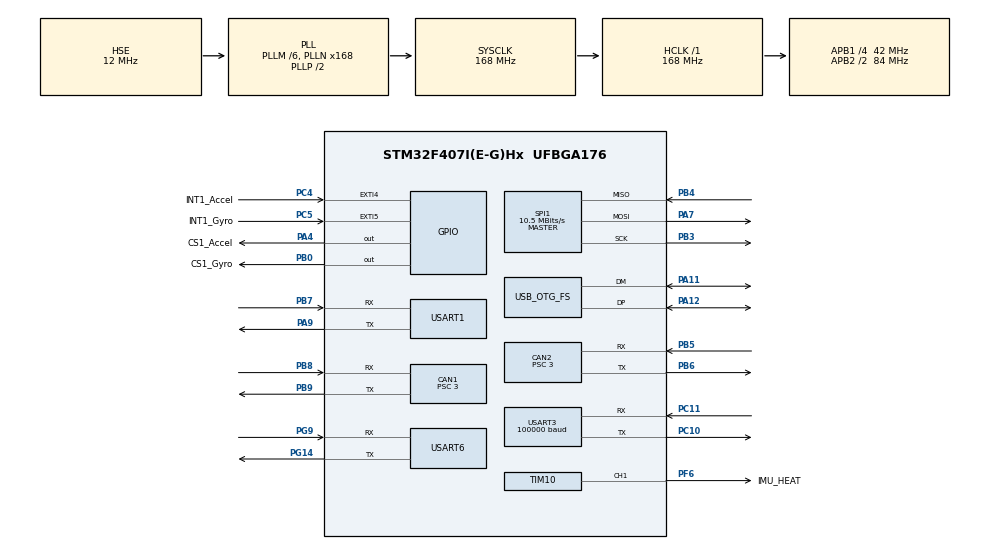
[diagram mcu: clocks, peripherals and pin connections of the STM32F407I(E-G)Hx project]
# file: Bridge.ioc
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CAN1.BS1=CAN_BS1_10TQ
CAN1.BS2=CAN_BS2_3TQ
CAN1.CalculateBaudRate=1000000
CAN1.CalculateTimeBit=1000
CAN1.CalculateTimeQuantum=71.42857142857143
CAN1.Prescaler=3
CAN2.BS1=CAN_BS1_10TQ
CAN2.BS2=CAN_BS2_3TQ
CAN2.CalculateBaudRate=1000000
CAN2.CalculateTimeBit=1000
CAN2.CalculateTimeQuantum=71.42857142857143
CAN2.Prescaler=3
Dma.Request0=USART6_RX
Dma.Request1=USART1_RX
Dma.Request2=USART1_TX
Dma.Request3=USART6_TX
Dma.Request4=USART3_RX
Dma.Request5=SPI1_RX
Dma.Request6=SPI1_TX
Dma.SPI1_RX.5.Direction=DMA_PERIPH_TO_MEMORY
Dma.SPI1_RX.5.FIFOMode=DMA_FIFOMODE_DISABLE
Dma.SPI1_RX.5.Instance=DMA2_Stream2
Dma.SPI1_RX.5.MemDataAlignment=DMA_MDATAALIGN_BYTE
Dma.SPI1_RX.5.MemInc=DMA_MINC_ENABLE
Dma.SPI1_RX.5.Mode=DMA_NORMAL
Dma.SPI1_RX.5.PeriphDataAlignment=DMA_PDATAALIGN_BYTE
Dma.SPI1_RX.5.PeriphInc=DMA_PINC_DISABLE
Dma.SPI1_RX.5.Priority=DMA_PRIORITY_VERY_HIGH
Dma.SPI1_TX.6.Direction=DMA_MEMORY_TO_PERIPH
Dma.SPI1_TX.6.FIFOMode=DMA_FIFOMODE_DISABLE
Dma.SPI1_TX.6.Instance=DMA2_Stream3
Dma.SPI1_TX.6.MemDataAlignment=DMA_MDATAALIGN_BYTE
Dma.SPI1_TX.6.MemInc=DMA_MINC_ENABLE
Dma.SPI1_TX.6.Mode=DMA_NORMAL
Dma.SPI1_TX.6.PeriphDataAlignment=DMA_PDATAALIGN_BYTE
Dma.SPI1_TX.6.PeriphInc=DMA_PINC_DISABLE
Dma.SPI1_TX.6.Priority=DMA_PRIORITY_HIGH
Dma.USART1_RX.1.Direction=DMA_PERIPH_TO_MEMORY
Dma.USART1_RX.1.FIFOMode=DMA_FIFOMODE_DISABLE
Dma.USART1_RX.1.Instance=DMA2_Stream5
Dma.USART1_RX.1.MemDataAlignment=DMA_MDATAALIGN_BYTE
Dma.USART1_RX.1.MemInc=DMA_MINC_ENABLE
Dma.USART1_RX.1.Mode=DMA_CIRCULAR
Dma.USART1_RX.1.PeriphDataAlignment=DMA_PDATAALIGN_BYTE
Dma.USART1_RX.1.PeriphInc=DMA_PINC_DISABLE
Dma.USART1_RX.1.Priority=DMA_PRIORITY_LOW
Dma.USART1_TX.2.Direction=DMA_MEMORY_TO_PERIPH
Dma.USART1_TX.2.FIFOMode=DMA_FIFOMODE_DISABLE
Dma.USART1_TX.2.Instance=DMA2_Stream7
Dma.USART1_TX.2.MemDataAlignment=DMA_MDATAALIGN_BYTE
Dma.USART1_TX.2.MemInc=DMA_MINC_ENABLE
Dma.USART1_TX.2.Mode=DMA_NORMAL
Dma.USART1_TX.2.PeriphDataAlignment=DMA_PDATAALIGN_BYTE
Dma.USART1_TX.2.PeriphInc=DMA_PINC_DISABLE
Dma.USART1_TX.2.Priority=DMA_PRIORITY_LOW
Dma.USART3_RX.4.Direction=DMA_PERIPH_TO_MEMORY
Dma.USART3_RX.4.FIFOMode=DMA_FIFOMODE_DISABLE
Dma.USART3_RX.4.Instance=DMA1_Stream1
Dma.USART3_RX.4.MemDataAlignment=DMA_MDATAALIGN_BYTE
Dma.USART3_RX.4.MemInc=DMA_MINC_ENABLE
Dma.USART3_RX.4.Mode=DMA_CIRCULAR
Dma.USART3_RX.4.PeriphDataAlignment=DMA_PDATAALIGN_BYTE
Dma.USART3_RX.4.PeriphInc=DMA_PINC_DISABLE
Dma.USART3_RX.4.Priority=DMA_PRIORITY_LOW
Dma.USART6_RX.0.Direction=DMA_PERIPH_TO_MEMORY
Dma.USART6_RX.0.FIFOMode=DMA_FIFOMODE_DISABLE
Dma.USART6_RX.0.Instance=DMA2_Stream1
Dma.USART6_RX.0.MemDataAlignment=DMA_MDATAALIGN_BYTE
Dma.USART6_RX.0.MemInc=DMA_MINC_ENABLE
Dma.USART6_RX.0.Mode=DMA_CIRCULAR
Dma.USART6_RX.0.PeriphDataAlignment=DMA_PDATAALIGN_BYTE
Dma.USART6_RX.0.PeriphInc=DMA_PINC_DISABLE
Dma.USART6_RX.0.Priority=DMA_PRIORITY_LOW
Dma.USART6_TX.3.Direction=DMA_MEMORY_TO_PERIPH
Dma.USART6_TX.3.FIFOMode=DMA_FIFOMODE_DISABLE
Dma.USART6_TX.3.Instance=DMA2_Stream6
Dma.USART6_TX.3.MemDataAlignment=DMA_MDATAALIGN_BYTE
Dma.USART6_TX.3.MemInc=DMA_MINC_ENABLE
Dma.USART6_TX.3.Mode=DMA_NORMAL
Dma.USART6_TX.3.PeriphDataAlignment=DMA_PDATAALIGN_BYTE
Dma.USART6_TX.3.PeriphInc=DMA_PINC_DISABLE
Dma.USART6_TX.3.Priority=DMA_PRIORITY_LOW
FREERTOS.Queues01=myQueue01,16,uint32_t,0,Dynamic,NULL,NULL
FREERTOS.Tasks01=defaultTask,0,128,StartDefaultTask,Default,NULL,Dynamic,NULL,NULL;Controller01,-3,512,StartController01,Default,NULL,Dynamic,NULL,NULL;Controller02,-3,512,StartController02,Default,NULL,Dynamic,NULL,NULL;Sensor01,-3,512,StartSensor01,Default,NULL,Dynamic,NULL,NULL;Sensor02,-3,512,StartSensor02,Default,NULL,Dynamic,NULL,NULL;OnlineCheck,-3,256,StartOnlineCheck,Default,NULL,Dynamic,NULL,NULL;Serial,-3,512,StartSerial,Default,NULL,Dynamic,NULL,NULL;SystemClockTask,-3,128,StartSystemClockTask,Default,NULL,Dynamic,NULL,NULL
Mcu.Family=STM32F4
Mcu.Name=STM32F407I(E-G)Hx
Mcu.Package=UFBGA176
NVIC.CAN1_RX0_IRQn=true\:6\:0\:true\:false\:true\:true\:true\:true\:true
NVIC.CAN2_RX0_IRQn=true\:6\:0\:true\:false\:true\:true\:true\:true\:true
NVIC.DMA1_Stream1_IRQn=true\:5\:0\:false\:false\:true\:true\:false\:true\:true
NVIC.DMA2_Stream1_IRQn=true\:5\:0\:false\:false\:true\:true\:false\:true\:true
NVIC.DMA2_Stream2_IRQn=true\:5\:0\:false\:false\:true\:true\:false\:true\:true
NVIC.DMA2_Stream3_IRQn=true\:5\:0\:false\:false\:true\:true\:false\:true\:true
NVIC.DMA2_Stream5_IRQn=true\:5\:0\:false\:false\:true\:false\:false\:true\:true
NVIC.DMA2_Stream6_IRQn=true\:5\:0\:false\:false\:true\:true\:false\:true\:true
NVIC.DMA2_Stream7_IRQn=true\:5\:0\:false\:false\:true\:true\:false\:true\:true
NVIC.OTG_FS_IRQn=true\:5\:0\:false\:false\:true\:true\:true\:true\:true
NVIC.PriorityGroup=NVIC_PRIORITYGROUP_4
NVIC.TIM1_UP_TIM10_IRQn=true\:5\:0\:false\:false\:true\:false\:false\:true\:true
NVIC.TIM2_IRQn=true\:5\:0\:false\:false\:true\:true\:true\:true\:true
NVIC.TimeBase=TIM1_UP_TIM10_IRQn
NVIC.TimeBaseIP=TIM1
NVIC.USART1_IRQn=true\:5\:0\:false\:false\:true\:true\:false\:true\:true
NVIC.USART3_IRQn=true\:5\:0\:false\:false\:true\:true\:true\:true\:true
NVIC.USART6_IRQn=true\:5\:0\:false\:false\:true\:true\:false\:true\:true
PA11.Mode=Device_Only
PA11.Signal=USB_OTG_FS_DM
PA12.Mode=Device_Only
PA12.Signal=USB_OTG_FS_DP
PA13.Mode=Serial_Wire
PA13.Signal=SYS_JTMS-SWDIO
PA14.Mode=Serial_Wire
PA14.Signal=SYS_JTCK-SWCLK
PA4.GPIO_Label=CS1_Accel
PA4.GPIO_PuPd=GPIO_PULLUP
PA4.GPIO_Speed=GPIO_SPEED_FREQ_HIGH
PA4.PinState=GPIO_PIN_SET
PA4.Signal=GPIO_Output
PA7.GPIO_PuPd=GPIO_PULLUP
PA7.Mode=Full_Duplex_Master
PA7.Signal=SPI1_MOSI
PA9.Mode=Asynchronous
PA9.Signal=USART1_TX
PB0.GPIO_Label=CS1_Gyro
PB0.GPIO_PuPd=GPIO_PULLUP
PB0.GPIO_Speed=GPIO_SPEED_FREQ_HIGH
PB0.PinState=GPIO_PIN_SET
PB0.Signal=GPIO_Output
PB3.GPIO_PuPd=GPIO_PULLUP
PB3.Mode=Full_Duplex_Master
PB3.Signal=SPI1_SCK
PB4.GPIO_PuPd=GPIO_PULLUP
PB4.Mode=Full_Duplex_Master
PB4.Signal=SPI1_MISO
PB5.Mode=CAN_Activate
PB5.Signal=CAN2_RX
PB6.Mode=CAN_Activate
PB6.Signal=CAN2_TX
PB7.Mode=Asynchronous
PB7.Signal=USART1_RX
PB8.Mode=CAN_Activate
PB8.Signal=CAN1_RX
PB9.Mode=CAN_Activate
PB9.Signal=CAN1_TX
PC10.Mode=Asynchronous
PC10.Signal=USART3_TX
PC11.Mode=Asynchronous
PC11.Signal=USART3_RX
PC4.GPIO_Label=INT1_Accel
PC4.GPIO_ModeDefaultEXTI=GPIO_MODE_IT_FALLING
PC4.GPIO_PuPd=GPIO_PULLUP
PC4.Signal=GPXTI4
PC5.GPIO_Label=INT1_Gyro
PC5.GPIO_ModeDefaultEXTI=GPIO_MODE_IT_FALLING
PC5.GPIO_PuPd=GPIO_PULLUP
PC5.Signal=GPXTI5
PF6.GPIO_Label=IMU_HEAT
PF6.GPIO_PuPd=GPIO_PULLUP
PF6.GPIO_Speed=GPIO_SPEED_FREQ_HIGH
PF6.Signal=S_TIM10_CH1
PG14.Mode=Asynchronous
PG14.Signal=USART6_TX
PG9.Mode=Asynchronous
PG9.Signal=USART6_RX
PH0-OSC_IN.Mode=HSE-External-Oscillator
PH0-OSC_IN.Signal=RCC_OSC_IN
PH1-OSC_OUT.Mode=HSE-External-Oscillator
PH1-OSC_OUT.Signal=RCC_OSC_OUT
ProjectManager.HeapSize=0x2000
ProjectManager.StackSize=0x2000
ProjectManager.TargetToolchain=CMake
RCC.48MHZClocksFreq_Value=48000000
RCC.AHBFreq_Value=168000000
RCC.APB1CLKDivider=RCC_HCLK_DIV4
RCC.APB1Freq_Value=42000000
RCC.APB1TimFreq_Value=84000000
RCC.APB2CLKDivider=RCC_HCLK_DIV2
RCC.APB2Freq_Value=84000000
RCC.APB2TimFreq_Value=168000000
RCC.CortexFreq_Value=168000000
RCC.HCLKFreq_Value=168000000
RCC.HSE_VALUE=12000000
RCC.HSI_VALUE=16000000
RCC.LSE_VALUE=32768
RCC.PLLM=6
RCC.PLLN=168
RCC.PLLQ=7
RCC.SYSCLKFreq_VALUE=168000000
RCC.SYSCLKSource=RCC_SYSCLKSOURCE_PLLCLK
RCC.VCOOutputFreq_Value=336000000
SH.S_TIM10_CH1.0=TIM10_CH1,PWM Generation1 CH1
SPI1.BaudRatePrescaler=SPI_BAUDRATEPRESCALER_8
SPI1.CLKPhase=SPI_PHASE_2EDGE
SPI1.CLKPolarity=SPI_POLARITY_HIGH
SPI1.CalculateBaudRate=10.5 MBits/s
SPI1.Direction=SPI_DIRECTION_2LINES
SPI1.Mode=SPI_MODE_MASTER
SPI1.VirtualType=VM_MASTER
STMicroelectronics.X-CUBE-ALGOBUILD.1.4.0.LibraryCcDSPOoLibraryJjDSPOoLibrary=true
TIM10.Channel=TIM_CHANNEL_1
TIM10.Period=2-1
TIM10.Prescaler=84-1
TIM2.Period=2000-1
TIM2.Prescaler=168-1
USART1.VirtualMode=VM_ASYNC
USART3.BaudRate=100000
USART3.Parity=PARITY_EVEN
USART3.VirtualMode=VM_ASYNC
USART6.VirtualMode=VM_ASYNC
USB_DEVICE.CLASS_NAME_FS=CDC
USB_DEVICE.VirtualMode-CDC_FS=Cdc
USB_DEVICE.VirtualModeFS=Cdc_FS
USB_OTG_FS.VirtualMode=Device_Only
VP_CRC_VS_CRC.Mode=CRC_Activate
VP_FREERTOS_VS_CMSIS_V1.Mode=CMSIS_V1
VP_STMicroelectronics.X-CUBE-ALGOBUILD_VS_DSPOoLibraryJjLibrary_1.4.0_1.4.0.Mode=DSPOoLibraryJjLibrary
VP_SYS_VS_tim1.Mode=TIM1
VP_TIM10_VS_ClockSourceINT.Mode=Enable_Timer
VP_TIM2_VS_ClockSourceINT.Mode=Internal
VP_USB_DEVICE_VS_USB_DEVICE_CDC_FS.Mode=CDC_FS
board=custom

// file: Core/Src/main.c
/* USER CODE BEGIN Header */
/**
  ******************************************************************************
  * @file           : main.c
  * @brief          : Main program body
  ******************************************************************************
  * @attention
  *
  * Copyright (c) 2024 STMicroelectronics.
  * All rights reserved.
  *
  * This software is licensed under terms that can be found in the LICENSE file
  * in the root directory of this software component.
  * If no LICENSE file comes with this software, it is provided AS-IS.
  *
  ******************************************************************************
  */
/* USER CODE END Header */
#include "main.h"
#include "cmsis_os.h"
#include "can.h"
#include "crc.h"
#include "dma.h"
#include "spi.h"
#include "tim.h"
#include "usart.h"
#include "usb_device.h"
#include "gpio.h"

/* USER CODE BEGIN Includes */
#include "arm_math.h"
#include "Bsp/Log/Log.h"
#include "Bsp/DWT/DWT.h"
/* USER CODE END Includes */

void SystemClock_Config(void);
void MX_FREERTOS_Init(void);

int main(void)
{

  /* MCU Configuration--------------------------------------------------------*/

  /* Reset of all peripherals, Initializes the Flash interface and the Systick. */
  HAL_Init();

  /* Configure the system clock */
  SystemClock_Config();

  /* Initialize all configured peripherals */
  MX_GPIO_Init();
  MX_DMA_Init();
  MX_CAN1_Init();
  MX_CAN2_Init();
  MX_USART1_UART_Init();
  MX_USART6_UART_Init();
  MX_USART3_UART_Init();
  MX_CRC_Init();
  MX_SPI1_Init();
  MX_TIM10_Init();
  MX_TIM2_Init();
  /* USER CODE BEGIN 2 */

  // 关闭中断,防止在初始化过程中发生中�?
  // 请不要在初始化过程中使用中断和延时函数！
  // 若必�?,则只允许使用DWT_Delay()
  __disable_irq();
  DWT_Init(168);
  BSP_LogInit();

  // 初始化完�?,�?启中�?
  __enable_irq();
  /* USER CODE END 2 */

  /* Call init function for freertos objects (in cmsis_os2.c) */
  MX_FREERTOS_Init();

  /* Start scheduler */
  osKernelStart();

  /* We should never get here as control is now taken by the scheduler */

  /* Infinite loop */
  while (1)
  {

  }
}

void SystemClock_Config(void)
{
  RCC_OscInitTypeDef RCC_OscInitStruct = {0};
  RCC_ClkInitTypeDef RCC_ClkInitStruct = {0};

  /** Configure the main internal regulator output voltage
  */
  __HAL_RCC_PWR_CLK_ENABLE();
  __HAL_PWR_VOLTAGESCALING_CONFIG(PWR_REGULATOR_VOLTAGE_SCALE1);

  /** Initializes the RCC Oscillators according to the specified parameters
  * in the RCC_OscInitTypeDef structure.
  */
  RCC_OscInitStruct.OscillatorType = RCC_OSCILLATORTYPE_HSE;
  RCC_OscInitStruct.HSEState = RCC_HSE_ON;
  RCC_OscInitStruct.PLL.PLLState = RCC_PLL_ON;
  RCC_OscInitStruct.PLL.PLLSource = RCC_PLLSOURCE_HSE;
  RCC_OscInitStruct.PLL.PLLM = 6;
  RCC_OscInitStruct.PLL.PLLN = 168;
  RCC_OscInitStruct.PLL.PLLP = RCC_PLLP_DIV2;
  RCC_OscInitStruct.PLL.PLLQ = 7;
  if (HAL_RCC_OscConfig(&RCC_OscInitStruct) != HAL_OK)
  {
    Error_Handler();
  }

  /** Initializes the CPU, AHB and APB buses clocks
  */
  RCC_ClkInitStruct.ClockType = RCC_CLOCKTYPE_HCLK|RCC_CLOCKTYPE_SYSCLK
                              |RCC_CLOCKTYPE_PCLK1|RCC_CLOCKTYPE_PCLK2;
  RCC_ClkInitStruct.SYSCLKSource = RCC_SYSCLKSOURCE_PLLCLK;
  RCC_ClkInitStruct.AHBCLKDivider = RCC_SYSCLK_DIV1;
  RCC_ClkInitStruct.APB1CLKDivider = RCC_HCLK_DIV4;
  RCC_ClkInitStruct.APB2CLKDivider = RCC_HCLK_DIV2;

  if (HAL_RCC_ClockConfig(&RCC_ClkInitStruct, FLASH_LATENCY_5) != HAL_OK)
  {
    Error_Handler();
  }
}

void HAL_TIM_PeriodElapsedCallback(TIM_HandleTypeDef *htim)
{
  if (htim->Instance == TIM1) {
    HAL_IncTick();
  }
}

void Error_Handler(void)
{
  __disable_irq();
  while (1)
  {
  }
}

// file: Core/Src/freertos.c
/* USER CODE BEGIN Header */
/**
  ******************************************************************************
  * File Name          : freertos.c
  * Description        : Code for freertos applications
  ******************************************************************************
  * @attention
  *
  * Copyright (c) 2024 STMicroelectronics.
  * All rights reserved.
  *
  * This software is licensed under terms that can be found in the LICENSE file
  * in the root directory of this software component.
  * If no LICENSE file comes with this software, it is provided AS-IS.
  *
  ******************************************************************************
  */
/* USER CODE END Header */

#include "FreeRTOS.h"
#include "task.h"
#include "main.h"
#include "cmsis_os.h"

/* USER CODE BEGIN Includes */
#include "crc.h"
#include "Application/test/test.h"
#include "Application/SystemClock/SystemClock.h"
#include "Application/Sensor/INS/ins.h"
#include "Application/Filter/QAHRS/qeskf.h"
/* USER CODE END Includes */

osThreadId defaultTaskHandle;
osThreadId Controller01Handle;
osThreadId Controller02Handle;
osThreadId Sensor01Handle;
osThreadId Sensor02Handle;
osThreadId OnlineCheckHandle;
osThreadId SerialHandle;
osThreadId SystemClockTaskHandle;
osMessageQId myQueue01Handle;

void StartDefaultTask(void const * argument);
void StartController01(void const * argument);
void StartController02(void const * argument);
void StartSensor01(void const * argument);
void StartSensor02(void const * argument);
void StartOnlineCheck(void const * argument);
void StartSerial(void const * argument);
void StartSystemClockTask(void const * argument);

extern void MX_USB_DEVICE_Init(void);
void MX_FREERTOS_Init(void); /* (MISRA C 2004 rule 8.1) */

/* GetIdleTaskMemory prototype (linked to static allocation support) */
void vApplicationGetIdleTaskMemory( StaticTask_t **ppxIdleTaskTCBBuffer, StackType_t **ppxIdleTaskStackBuffer, uint32_t *pulIdleTaskStackSize );

/* USER CODE BEGIN GET_IDLE_TASK_MEMORY */
static StaticTask_t xIdleTaskTCBBuffer;
static StackType_t xIdleStack[configMINIMAL_STACK_SIZE];

void vApplicationGetIdleTaskMemory( StaticTask_t **ppxIdleTaskTCBBuffer, StackType_t **ppxIdleTaskStackBuffer, uint32_t *pulIdleTaskStackSize )
{
  *ppxIdleTaskTCBBuffer = &xIdleTaskTCBBuffer;
  *ppxIdleTaskStackBuffer = &xIdleStack[0];
  *pulIdleTaskStackSize = configMINIMAL_STACK_SIZE;
  /* place for user code */
}
/* USER CODE END GET_IDLE_TASK_MEMORY */

void MX_FREERTOS_Init(void) {

  /* Create the queue(s) */
  /* definition and creation of myQueue01 */
  osMessageQDef(myQueue01, 16, uint32_t);
  myQueue01Handle = osMessageCreate(osMessageQ(myQueue01), NULL);

  /* Create the thread(s) */
  /* definition and creation of defaultTask */
  osThreadDef(defaultTask, StartDefaultTask, osPriorityNormal, 0, 128);
  defaultTaskHandle = osThreadCreate(osThread(defaultTask), NULL);

  /* definition and creation of Controller01 */
  osThreadDef(Controller01, StartController01, osPriorityIdle, 0, 512);
  Controller01Handle = osThreadCreate(osThread(Controller01), NULL);

  /* definition and creation of Controller02 */
  osThreadDef(Controller02, StartController02, osPriorityIdle, 0, 512);
  Controller02Handle = osThreadCreate(osThread(Controller02), NULL);

  /* definition and creation of Sensor01 */
  osThreadDef(Sensor01, StartSensor01, osPriorityIdle, 0, 512);
  Sensor01Handle = osThreadCreate(osThread(Sensor01), NULL);

  /* definition and creation of Sensor02 */
  osThreadDef(Sensor02, StartSensor02, osPriorityIdle, 0, 512);
  Sensor02Handle = osThreadCreate(osThread(Sensor02), NULL);

  /* definition and creation of OnlineCheck */
  osThreadDef(OnlineCheck, StartOnlineCheck, osPriorityIdle, 0, 256);
  OnlineCheckHandle = osThreadCreate(osThread(OnlineCheck), NULL);

  /* definition and creation of Serial */
  osThreadDef(Serial, StartSerial, osPriorityIdle, 0, 512);
  SerialHandle = osThreadCreate(osThread(Serial), NULL);

  /* definition and creation of SystemClockTask */
  osThreadDef(SystemClockTask, StartSystemClockTask, osPriorityIdle, 0, 128);
  SystemClockTaskHandle = osThreadCreate(osThread(SystemClockTask), NULL);

}

void StartDefaultTask(void const * argument)
{
  /* init code for USB_DEVICE */
  MX_USB_DEVICE_Init();
  for(;;)
  {
    osDelay(1);
  }
}

void StartController01(void const * argument)
{
  /* USER CODE BEGIN StartController01 */
  QESKF_Init();
  Ins_Init(0);
  /* Infinite loop */
  for(;;)
  {
    Ins_Task();
    osDelay(1);
  }
  /* USER CODE END StartController01 */
}

void StartController02(void const * argument)
{
  /* USER CODE BEGIN StartController02 */
  UNUSED(argument);
  /* Infinite loop */
  for(;;)
  {
    osDelay(1);
  }
  /* USER CODE END StartController02 */
}

void StartSensor01(void const * argument)
{
  /* USER CODE BEGIN StartSensor01 */
  UNUSED(argument);
  /* Infinite loop */
  for(;;)
  {
    osDelay(1);
  }
  /* USER CODE END StartSensor01 */
}

void StartSensor02(void const * argument)
{
  /* USER CODE BEGIN StartSensor02 */
  UNUSED(argument);
  /* Infinite loop */
  for(;;)
  {
    osDelay(1);
  }
  /* USER CODE END StartSensor02 */
}

void StartOnlineCheck(void const * argument)
{
  /* USER CODE BEGIN StartOnlineCheck */
  UNUSED(argument);
  /* Infinite loop */
  for(;;)
  {
    osDelay(1);
  }
  /* USER CODE END StartOnlineCheck */
}

void StartSerial(void const * argument)
{
  /* USER CODE BEGIN StartSerial */
  UNUSED(argument);
        Test_Init();
        #define BUFFER_SIZE    114
        static const uint32_t dataBuffer[BUFFER_SIZE] =
        {
                0x00001021, 0x20423063, 0x408450a5, 0x60c670e7, 0x9129a14a, 0xb16bc18c,
                0xd1ade1ce, 0xf1ef1231, 0x32732252, 0x52b54294, 0x72f762d6, 0x93398318,
                0xa35ad3bd, 0xc39cf3ff, 0xe3de2462, 0x34430420, 0x64e674c7, 0x44a45485,
                0xa56ab54b, 0x85289509, 0xf5cfc5ac, 0xd58d3653, 0x26721611, 0x063076d7,
                0x569546b4, 0xb75ba77a, 0x97198738, 0xf7dfe7fe, 0xc7bc48c4, 0x58e56886,
                0x78a70840, 0x18612802, 0xc9ccd9ed, 0xe98ef9af, 0x89489969, 0xa90ab92b,
                0x4ad47ab7, 0x6a961a71, 0x0a503a33, 0x2a12dbfd, 0xfbbfeb9e, 0x9b798b58,
                0xbb3bab1a, 0x6ca67c87, 0x5cc52c22, 0x3c030c60, 0x1c41edae, 0xfd8fcdec,
                0xad2abd0b, 0x8d689d49, 0x7e976eb6, 0x5ed54ef4, 0x2e321e51, 0x0e70ff9f,
                0xefbedfdd, 0xcffcbf1b, 0x9f598f78, 0x918881a9, 0xb1caa1eb, 0xd10cc12d,
                0xe16f1080, 0x00a130c2, 0x20e35004, 0x40257046, 0x83b99398, 0xa3fbb3da,
                0xc33dd31c, 0xe37ff35e, 0x129022f3, 0x32d24235, 0x52146277, 0x7256b5ea,
                0x95a88589, 0xf56ee54f, 0xd52cc50d, 0x34e224c3, 0x04817466, 0x64475424,
                0x4405a7db, 0xb7fa8799, 0xe75ff77e, 0xc71dd73c, 0x26d336f2, 0x069116b0,
                0x76764615, 0x5634d94c, 0xc96df90e, 0xe92f99c8, 0xb98aa9ab, 0x58444865,
                0x78066827, 0x18c008e1, 0x28a3cb7d, 0xdb5ceb3f, 0xfb1e8bf9, 0x9bd8abbb,
                0x4a755a54, 0x6a377a16, 0x0af11ad0, 0x2ab33a92, 0xed0fdd6c, 0xcd4dbdaa,
                0xad8b9de8, 0x8dc97c26, 0x5c644c45, 0x3ca22c83, 0x1ce00cc1, 0xef1fff3e,
                0xdf7caf9b, 0xbfba8fd9, 0x9ff86e17, 0x7e364e55, 0x2e933eb2, 0x0ed11ef0
        };

        uint32_t uwExpectedCRCValue = 0x379E9F06;
  /* Infinite loop */
  for(;;)
  {
      Test_Task();
          __IO uint32_t CRCValue = 0;
          static uint8_t fuck_right = 0;
          CRCValue = HAL_CRC_Calculate(&hcrc, (uint32_t *)dataBuffer, BUFFER_SIZE);

          if (CRCValue == uwExpectedCRCValue) {
                  fuck_right = 1;
          }
    osDelay(1);
  }
  /* USER CODE END StartSerial */
}

void StartSystemClockTask(void const * argument)
{
  /* USER CODE BEGIN StartSystemClockTask */
  UNUSED(argument);
  SystemClock_Init();
  /* Infinite loop */
  for(;;)
  {
      SystemClock_Task();
      osDelay(5);
  }
  /* USER CODE END StartSystemClockTask */
}
